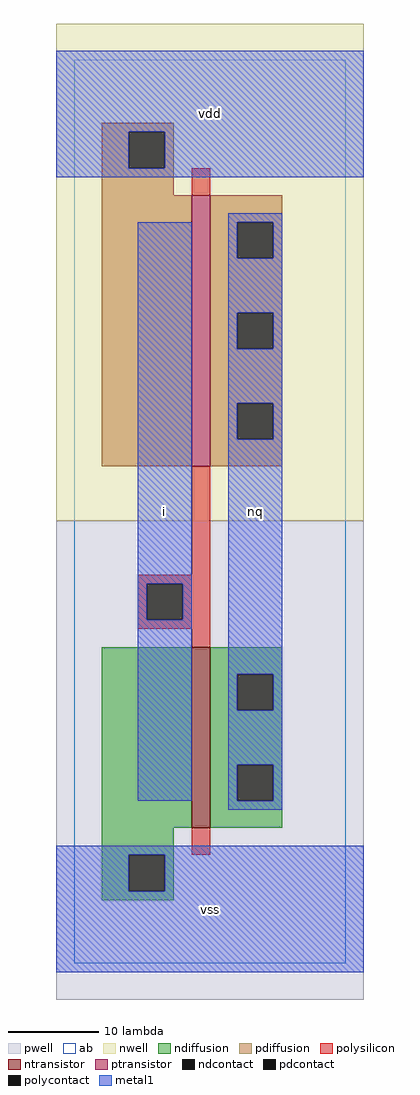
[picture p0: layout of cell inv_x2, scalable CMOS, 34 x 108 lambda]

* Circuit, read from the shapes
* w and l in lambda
.subckt inv_x2 i nq vdd vss
M1 nq i vss VSUBS nfet w=20 l=2
M2 nq i vdd n1 pfet w=30 l=2
.ends

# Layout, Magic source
magic
tech scmos
<< ab >>
rect 0 0 30 100
<< pwell >>
rect -2 -4 32 49
<< nwell >>
rect -2 49 32 104
<< polysilicon >>
rect 13 85 15 88
rect 13 43 15 55
rect 7 42 15 43
rect 7 38 8 42
rect 12 38 15 42
rect 7 37 15 38
rect 13 35 15 37
rect 13 12 15 15
<< ndiffusion >>
rect 3 15 13 35
rect 15 32 23 35
rect 15 28 18 32
rect 22 28 23 32
rect 15 22 23 28
rect 15 18 18 22
rect 22 18 23 22
rect 15 15 23 18
rect 3 12 11 15
rect 3 8 6 12
rect 10 8 11 12
rect 3 7 11 8
<< pdiffusion >>
rect 3 92 11 93
rect 3 88 6 92
rect 10 88 11 92
rect 3 85 11 88
rect 3 55 13 85
rect 15 82 23 85
rect 15 78 18 82
rect 22 78 23 82
rect 15 72 23 78
rect 15 68 18 72
rect 22 68 23 72
rect 15 62 23 68
rect 15 58 18 62
rect 22 58 23 62
rect 15 55 23 58
<< metal1 >>
rect -2 92 32 101
rect -2 88 6 92
rect 10 88 32 92
rect -2 87 32 88
rect 17 82 23 83
rect 7 42 13 82
rect 7 38 8 42
rect 12 38 13 42
rect 7 18 13 38
rect 17 78 18 82
rect 22 78 23 82
rect 17 72 23 78
rect 17 68 18 72
rect 22 68 23 72
rect 17 62 23 68
rect 17 58 18 62
rect 22 58 23 62
rect 17 32 23 58
rect 17 28 18 32
rect 22 28 23 32
rect 17 22 23 28
rect 17 18 18 22
rect 22 18 23 22
rect 17 17 23 18
rect -2 12 32 13
rect -2 8 6 12
rect 10 8 32 12
rect -2 -1 32 8
<< ntransistor >>
rect 13 15 15 35
<< ptransistor >>
rect 13 55 15 85
<< polycontact >>
rect 8 38 12 42
<< ndcontact >>
rect 18 28 22 32
rect 18 18 22 22
rect 6 8 10 12
<< pdcontact >>
rect 6 88 10 92
rect 18 78 22 82
rect 18 68 22 72
rect 18 58 22 62
<< labels >>
rlabel metal1 15 6 15 6 6 vss
rlabel metal1 15 6 15 6 6 vss
rlabel metal1 10 50 10 50 6 i
rlabel metal1 10 50 10 50 6 i
rlabel metal1 15 94 15 94 6 vdd
rlabel metal1 15 94 15 94 6 vdd
rlabel metal1 20 50 20 50 6 nq
rlabel metal1 20 50 20 50 6 nq
<< end >>
